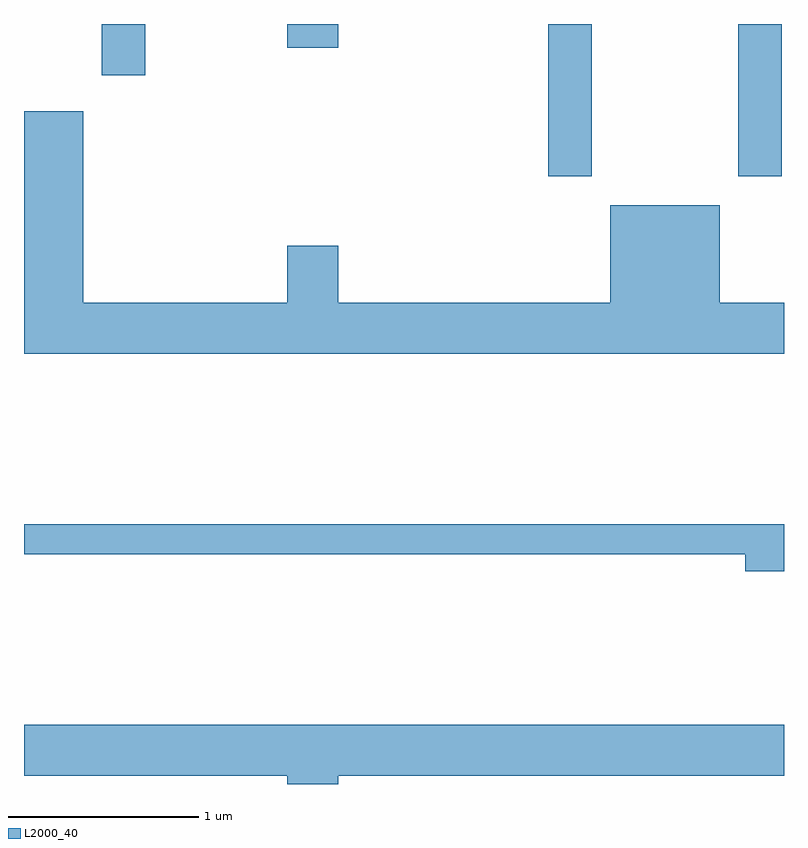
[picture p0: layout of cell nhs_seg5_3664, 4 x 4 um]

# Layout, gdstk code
import gdstk
lib = gdstk.Library(unit=1e-6, precision=1e-09)
def R(c, l, rs):  # rectangles x0, y0, x1, y1
    for r in rs: c.add(gdstk.rectangle(r[:2], r[2:], *l))
def P(c, l, *ps):  # polygons
    for p in ps: c.add(gdstk.Polygon(p, *l))
L2000_40 = (2000, 40)

nhs_seg5_3664 = lib.new_cell('nhs_seg5_3664')
R(nhs_seg5_3664, L2000_40, [(296.371,1473.271,296.599,1474.072), (297.371,1473.271,297.599,1474.072), (294.021,1473.801,294.249,1474.072), (294.996,1473.946,295.264,1474.072)])
P(nhs_seg5_3664, L2000_40, [(297.611,1472.604),(297.274,1472.604),(297.274,1473.119),(296.696,1473.119),(296.696,1472.604),(295.264,1472.604),(295.264,1472.904),(294.996,1472.904),(294.996,1472.604),(293.924,1472.604),(293.924,1473.614),(293.611,1473.614),(293.611,1472.336),(297.611,1472.336)],
  [(297.611,1471.439),(293.611,1471.439),(293.611,1471.281),(297.406,1471.281),(297.406,1471.191),(297.611,1471.191)],
  [(295.264,1470.116),(297.611,1470.116),(297.611,1470.384),(293.611,1470.384),(293.611,1470.116),(294.996,1470.116),(294.996,1470.072),(295.264,1470.072)])

lib.write_gds('nhs_seg5_3664.gds')
